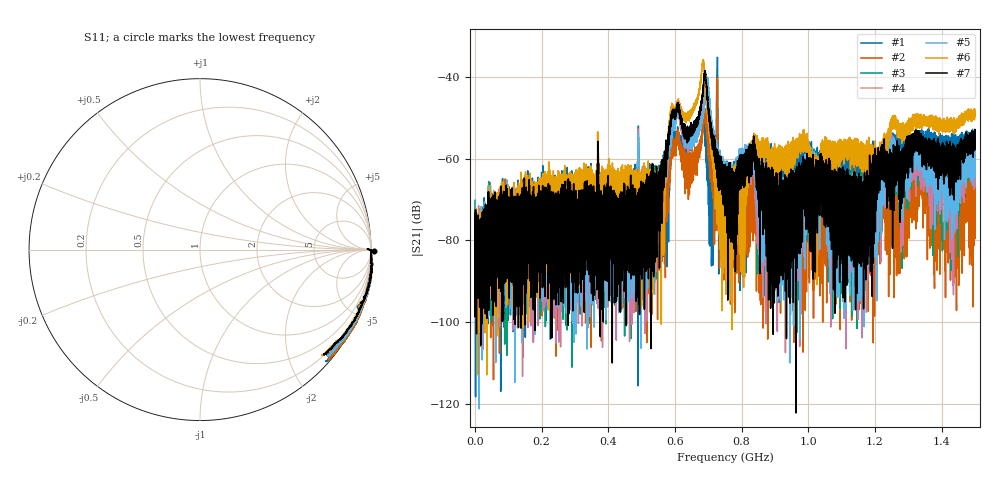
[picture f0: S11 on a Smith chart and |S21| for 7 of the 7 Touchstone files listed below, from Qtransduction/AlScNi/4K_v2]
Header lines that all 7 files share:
!Agilent Technologies,N5230C,SG49000117,A.08.50.07
!Agilent N5230C: A.08.50.07
!Correction: S11(Full 2 Port(1,2))
!S21(Full 2 Port(1,2))
!S12(Full 2 Port(1,2))
!S22(Full 2 Port(1,2))
!S2P File: Measurements: S11, S21, S12, S22:
# Hz S  RI  R 50
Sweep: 300 kHz to 1.5 GHz
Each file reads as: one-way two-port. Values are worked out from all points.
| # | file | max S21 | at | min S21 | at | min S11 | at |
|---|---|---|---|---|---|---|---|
| 1 | B0.s2p | -35.17 dB | 727.4 MHz | -118.3 dB | 2.025 MHz | -0.2 dB | 525 kHz |
| 2 | B3.s2p | -40.11 dB | 727.1 MHz | -114.1 dB | 55.71 MHz | -0.2 dB | 674.9 kHz |
| 3 | C4.s2p | -41.04 dB | 690.4 MHz | -111.0 dB | 290.8 MHz | -0.3 dB | 1.497 GHz |
| 4 | C5.s2p | -41.15 dB | 692.3 MHz | -113.2 dB | 142.9 MHz | -0.3 dB | 1.497 GHz |
| 5 | C7.s2p | -40.09 dB | 696.9 MHz | -121.2 dB | 12.37 MHz | -0.3 dB | 1.497 GHz |
| 6 | D0.s2p | -35.81 dB | 684.5 MHz | -112.9 dB | 35.62 MHz | -0.5 dB | 1.497 GHz |
| 7 | D2.s2p | -38.43 dB | 690.4 MHz | -122.2 dB | 963.2 MHz | -0.5 dB | 1.494 GHz |
